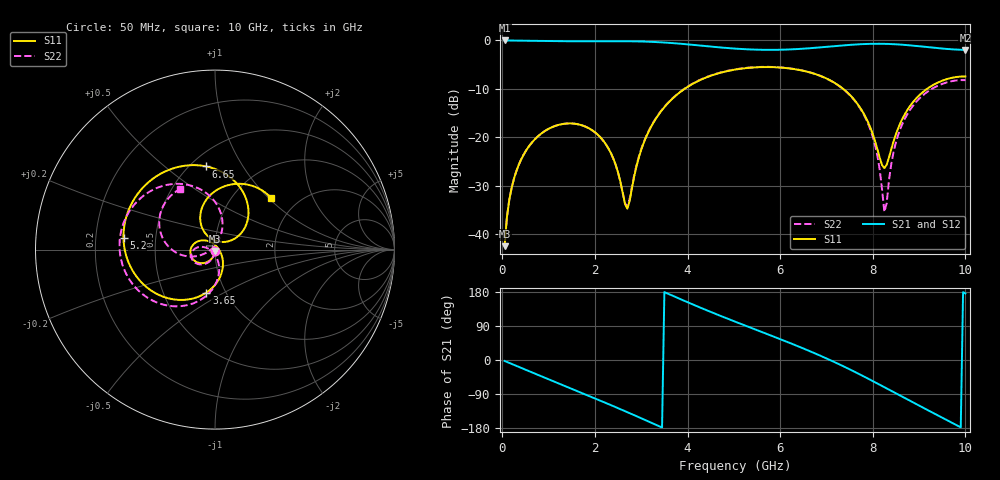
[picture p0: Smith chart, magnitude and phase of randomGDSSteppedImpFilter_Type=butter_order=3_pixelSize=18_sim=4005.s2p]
! freq	dB(S11)	phase(S11)	dB(S12)	phase(S12)
!  dB(S21)	phase(S21)	dB(S22)	phase(S22)
!S-par simulation data
#  GHz  S  DB  R 50
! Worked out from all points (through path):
!   200 points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, 50 MHz to 10 GHz, reference 50 ohm
!   highest |S21| = 0.00 dB at 50 MHz (marker M1); lowest = -2.0 dB at 10 GHz (marker M2)
!   group delay of S21, straight-line fit = 148 ps
!   lowest |S11| = -42.5 dB at 50 MHz (marker M3), VSWR 1.02, Z = 50 - j0.747 ohm
!   |S11| at or under -10 dB: start of sweep to 3.938 GHz; 7.36 GHz to 9.173 GHz (1.813 GHz wide, 21.9 % of centre)
!   |S22| runs from -42.5 to -5.5 dB; largest |S21 - S12| = 0
!   S11 on the Smith chart (normalised r, x): 50 MHz: 1.00, -0.01; 3.65 GHz: 0.81, -0.41; 5.2 GHz: 0.32, +0.06; 6.65 GHz: 0.59, +0.70; 10 GHz: 1.48, +1.04
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0.05  -42.52 -92.3  -0.00 -2.6  -0.00 -2.6  -42.51 -92.0
0.2  -30.55 -101.0  -0.02 -10.3  -0.02 -10.3  -30.54 -99.7
0.55  -22.23 -120.2  -0.07 -28.1  -0.07 -28.1  -22.22 -116.8
1.75  -17.64 173.5  -0.17 -88.5  -0.17 -88.5  -17.64 -172.1
2.3  -22.45 137.3  -0.16 -116.6  -0.16 -116.6  -22.48 168.2
2.7  -34.77 34.7  -0.16 -137.7  -0.16 -137.7  -34.38 -129.6
3  -22.60 -54.2  -0.21 -153.8  -0.21 -153.8  -22.45 -75.5
3.4  -15.00 -85.4  -0.37 -175.4  -0.37 -175.4  -14.92 -87.1
3.65  -12.25 -101.3  -0.53 171.1  -0.53 171.1  -12.18 -98.0
4.35  -7.86 -142.0  -1.13 134.5  -1.13 134.5  -7.80 -130.0
5.05  -5.99 -179.4  -1.70 100.1  -1.70 100.1  -5.94 -160.5
5.2  -5.78 172.8  -1.79 93.0  -1.79 93.0  -5.74 -166.9
6.65  -6.63 96.1  -1.60 22.8  -1.60 22.8  -6.62 131.6
6.7  -6.77 93.3  -1.57 20.2  -1.57 20.2  -6.76 129.4
7.8  -15.04 32.6  -0.75 -42.9  -0.75 -42.9  -15.21 76.6
8.1  -22.48 35.4  -0.68 -62.0  -0.68 -62.0  -23.85 68.5
8.25  -26.38 75.6  -0.70 -71.7  -0.70 -71.7  -35.44 117.4
8.35  -24.18 107.2  -0.73 -78.2  -0.73 -78.2  -28.93 -166.4
8.55  -18.10 121.3  -0.82 -91.3  -0.82 -91.3  -19.46 -160.2
8.85  -12.98 110.6  -1.05 -110.7  -1.05 -110.7  -13.73 -173.7
9.45  -8.51 75.6  -1.63 -148.9  -1.63 -148.9  -9.17 153.2
10  -7.44 42.6  -1.96 175.7  -1.96 175.7  -8.20 119.9
